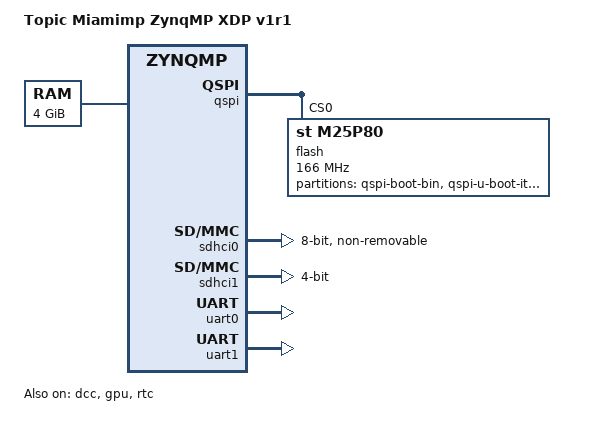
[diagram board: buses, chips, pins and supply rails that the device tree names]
// SPDX-License-Identifier: GPL-2.0+
/*
 * dts file for Topic XDP (Xilinx Drone Platform)
 *
 * (C) Copyright 2016, Topic Embedded Products BV
 * Mike Looijmans <mike.looijmans@topic.nl>
 */

/dts-v1/;

#include "zynqmp.dtsi"
#include "zynqmp-clk-ccf.dtsi"
#include <dt-bindings/gpio/gpio.h>
#include <dt-bindings/phy/phy.h>

/ {
	model = "Topic Miamimp ZynqMP XDP v1r1";
	compatible = "topic,miamimp-xdp-v1r1", "topic,miamimp-xdp",
		     "topic,miamimp", "xlnx,zynqmp";

	aliases {
		i2c0 = &i2c0;
		i2c1 = &i2c1;
		mmc0 = &sdhci0;
		mmc1 = &sdhci1;
		rtc0 = &rtc;
		serial0 = &uart1;
		serial1 = &uart0;
		serial2 = &dcc;
		spi0 = &qspi;
		usb0 = &usb0;
	};

	chosen {
		bootargs = "earlycon";
		stdout-path = "serial0:115200n8";
	};

	memory@0 {
		device_type = "memory";
		reg = <0x0 0x0 0x0 0x80000000>, <0x8 0x00000000 0x0 0x80000000>;
	};
};

&dcc {
	status = "okay";
};

&gpio {
	status = "okay";
};

&gpu {
	status = "okay";
};

&qspi {
	status = "okay";
	flash@0 {
		compatible = "st,m25p80", "n25q256a", "jedec,spi-nor";
		m25p,fast-read;
		reg = <0x0>;
		spi-tx-bus-width = <4>;
		spi-rx-bus-width = <4>;
		spi-max-frequency = <166000000>;
		#address-cells = <1>;
		#size-cells = <1>;
		partition@0 {
			label = "qspi-boot-bin";
			reg = <0x00000 0x60000>;
		};
		partition@60000 {
			label = "qspi-u-boot-itb";
			reg = <0x60000 0x100000>;
		};
		partition@160000 {
			label = "qspi-u-boot-env";
			reg = <0x160000 0x20000>;
		};
		partition@200000 {
			label = "qspi-rootfs";
			reg = <0x200000 0x1e00000>;
		};
	};
};

&rtc {
	status = "okay";
};

/* eMMC device */
&sdhci0 {
	status = "okay";
	non-removable;
	disable-wp; /* We don't have a write-protect detection */
	bus-width = <8>;
	xlnx,mio-bank = <0>;
};

/* SD1 with level shifter */
&sdhci1 {
	status = "okay";
	xlnx,mio-bank = <1>;
	disable-wp; /* We don't have a write-protect detection */
	bus-width = <4>;
};

&uart0 {
	status = "okay";
};

&uart1 {
	status = "okay";
};
